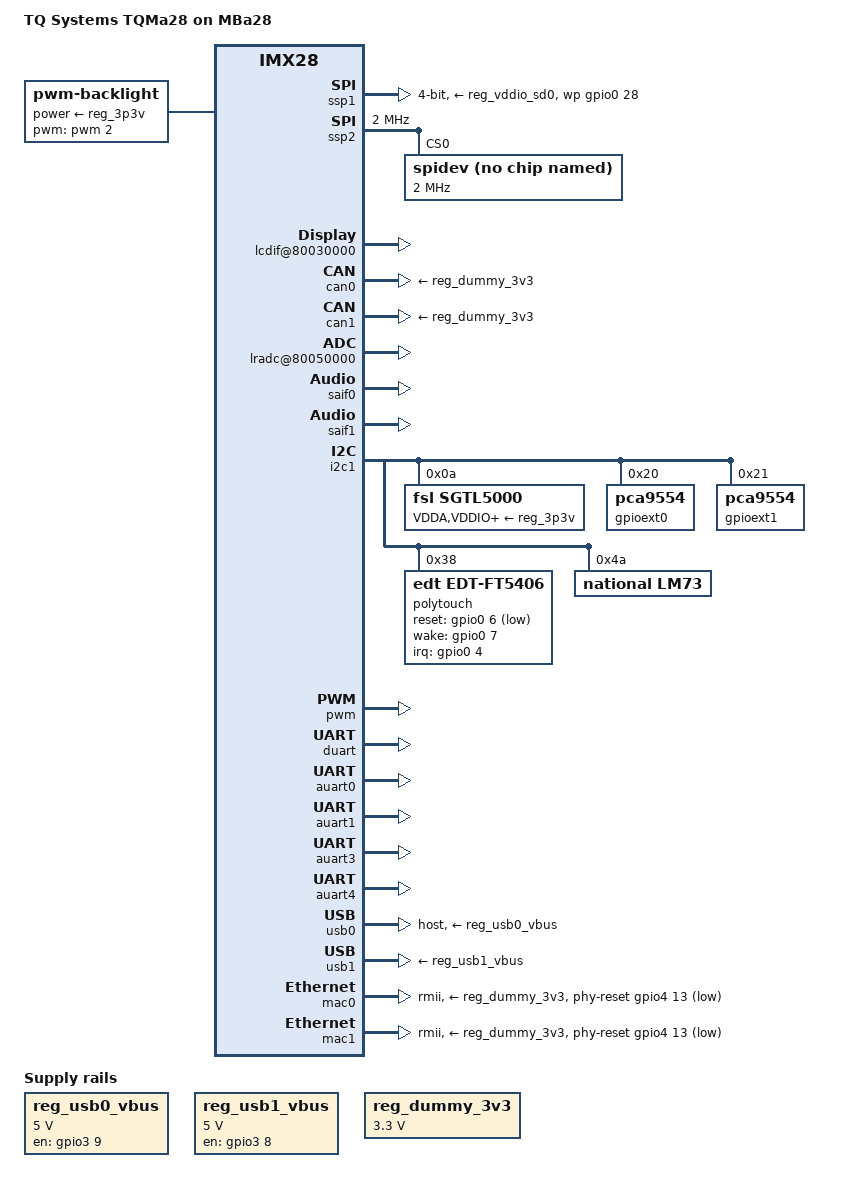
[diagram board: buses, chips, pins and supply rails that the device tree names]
/*
 * Copyright 2012 Freescale Semiconductor, Inc.
 *
 * The code contained herein is licensed under the GNU General Public
 * License. You may obtain a copy of the GNU General Public License
 * Version 2 or later at the following locations:
 *
 * http://www.opensource.org/licenses/gpl-license.html
 * http://www.gnu.org/copyleft/gpl.html
 */

/dts-v1/;
#include "imx28-tqma28.dtsi"

/ {
	model = "TQ Systems TQMa28 on MBa28";
	compatible = "tqs, mba28", "tqs,tqma28", "fsl,imx28";

	apb@80000000 {
		apbh@80000000 {
			ssp1: ssp@80012000 {
				compatible = "fsl,imx28-mmc";
				pinctrl-names = "default";
				pinctrl-0 = <&mmc1_4bit_pins_a
						&mmc1_cd_cfg
						&mmc1_sck_cfg>;
				bus-width = <4>;
				wp-gpios = <&gpio0 28 0>;
				vmmc-supply = <&reg_vddio_sd0>;
				status = "okay";
			};

			ssp2: ssp@80014000 {
				#address-cells = <1>;
				#size-cells = <0>;
				compatible = "fsl,imx28-spi";
				pinctrl-names = "default";
				pinctrl-0 = <&spi2_pins_a>;
				clock-frequency = <2000000>;
				status = "okay";

				spidev: spidev@0 {
					compatible = "rohm,dh2228fv";
					reg = <0>;
					spi-max-frequency = <2000000>;
				};
			};

			pinctrl@80018000 {
				pinctrl-names = "default";
				pinctrl-0 = <&hog_pins_a>;

				hog_pins_a: hog-gpios@0 {
					reg = <0>;
					fsl,pinmux-ids = <
						MX28_PAD_ENET0_RX_CLK__GPIO_4_13
						MX28_PAD_LCD_RESET__GPIO_3_30
						MX28_PAD_AUART2_RX__GPIO_3_8
						MX28_PAD_AUART2_TX__GPIO_3_9
					>;
					fsl,drive-strength = <MXS_DRIVE_8mA>;
					fsl,voltage = <MXS_VOLTAGE_HIGH>;
					fsl,pull-up = <MXS_PULL_DISABLE>;
				};

				edt_ft5x06_pins: edt-ft5x06-pins {
					fsl,pinmux-ids = <
						MX28_PAD_GPMI_D04__GPIO_0_4 /* IRQ */
						MX28_PAD_GPMI_D06__GPIO_0_6 /* RESET */
						MX28_PAD_GPMI_D07__GPIO_0_7 /* WAKE */
					>;
					fsl,drive-strength = <MXS_DRIVE_4mA>;
					fsl,voltage = <MXS_VOLTAGE_HIGH>;
					fsl,pull-up = <MXS_PULL_DISABLE>;
				};

				i2c1_pins_b: i2c1@0 {
					reg = <0>;
					fsl,pinmux-ids = <
						MX28_PAD_AUART2_CTS__I2C1_SCL
						MX28_PAD_AUART2_RTS__I2C1_SDA
					>;
					fsl,drive-strength = <MXS_DRIVE_8mA>;
					fsl,voltage = <MXS_VOLTAGE_HIGH>;
					fsl,pull-up = <MXS_PULL_DISABLE>;
				};

				lcdif_24bit_pins_a: lcdif-24bit@0 {
					fsl,drive-strength = <MXS_DRIVE_8mA>;
				};

				lcdif_pins_mba28: lcdif-evk@0 {
					reg = <0>;
					fsl,pinmux-ids = <
						MX28_PAD_LCD_VSYNC__LCD_VSYNC
						MX28_PAD_LCD_HSYNC__LCD_HSYNC
						MX28_PAD_LCD_DOTCLK__LCD_DOTCLK
						MX28_PAD_LCD_ENABLE__LCD_ENABLE
					>;
					fsl,drive-strength = <MXS_DRIVE_8mA>;
					fsl,voltage = <MXS_VOLTAGE_HIGH>;
					fsl,pull-up = <MXS_PULL_DISABLE>;
				};

				mmc1_4bit_pins_a: mmc1-4bit@0 {
					reg = <0>;
					fsl,pinmux-ids = <
						MX28_PAD_GPMI_D00__SSP1_D0
						MX28_PAD_GPMI_D01__SSP1_D1
						MX28_PAD_GPMI_D02__SSP1_D2
						MX28_PAD_GPMI_D03__SSP1_D3
						MX28_PAD_GPMI_RDY0__SSP1_CARD_DETECT
						MX28_PAD_GPMI_RDY1__SSP1_CMD
						MX28_PAD_GPMI_WRN__SSP1_SCK
					>;
					fsl,drive-strength = <MXS_DRIVE_8mA>;
					fsl,voltage = <MXS_VOLTAGE_HIGH>;
					fsl,pull-up = <MXS_PULL_DISABLE>;
				};

				mmc1_cd_cfg: mmc1-cd-cfg {
					fsl,pinmux-ids = <
						MX28_PAD_GPMI_RDY0__SSP1_CARD_DETECT
					>;
					fsl,pull-up = <MXS_PULL_DISABLE>;
				};

				mmc1_sck_cfg: mmc1-sck-cfg {
					fsl,pinmux-ids = <
						MX28_PAD_GPMI_WRN__SSP1_SCK
					>;
					fsl,voltage = <MXS_VOLTAGE_HIGH>;
					fsl,drive-strength = <MXS_DRIVE_8mA>;
					fsl,pull-up = <MXS_PULL_ENABLE>;
				};

				pwm2_pins_a: pwm2@0 {
					fsl,drive-strength = <MXS_DRIVE_8mA>;
					fsl,pull-up = <MXS_PULL_ENABLE>;
				};

				auart0_pins_a: auart0@0 {
					fsl,drive-strength = <MXS_DRIVE_8mA>;
				};

				auart1_2pins_a: auart1-2pins@0 {
					fsl,drive-strength = <MXS_DRIVE_8mA>;
				};

				auart3_pins_a: auart3@0 {
					fsl,drive-strength = <MXS_DRIVE_8mA>;
				};

				auart4_pins_a: auart4@0 {
					reg = <0>;
					fsl,pinmux-ids = <
						MX28_PAD_SSP3_SCK__AUART4_TX
						MX28_PAD_SSP3_MOSI__AUART4_RX
						MX28_PAD_SSP3_MISO__AUART4_RTS
						MX28_PAD_SSP3_SS0__AUART4_CTS
					>;
					fsl,drive-strength = <MXS_DRIVE_8mA>;
					fsl,voltage = <MXS_VOLTAGE_HIGH>;
					fsl,pull-up = <MXS_PULL_DISABLE>;
				};
			};

			lcdif@80030000 {
				pinctrl-names = "default";
				pinctrl-0 = <&lcdif_24bit_pins_a
							 &lcdif_pins_mba28>;
				lcd-supply = <&reg_dummy_3v3>;
				display = <&parallel>;
				status = "okay";

				parallel: lcd_display {
					bits-per-pixel = <16>;
					bus-width = <18>;

					display-timings {
						native-mode = <&ET0700G0DH6>;
						ET0700G0DH6: timing0 {
							clock-frequency = <33260000>;
							hactive = <800>;
							vactive = <480>;
							hback-porch = <0>;
							hfront-porch = <256>;
							vback-porch = <0>;
							vfront-porch = <45>;
							hsync-len = <10>;
							vsync-len = <10>;
							hsync-active = <0>;
							vsync-active = <0>;
							de-active = <1>;
							pixelclk-active = <1>;
						};
					};
				};
			};

			can0: can@80032000 {
				pinctrl-names = "default";
				pinctrl-0 = <&can0_pins_a>;
				xceiver-supply = <&reg_dummy_3v3>;
				status = "okay";
			};

			can1: can@80034000 {
				pinctrl-names = "default";
				pinctrl-0 = <&can1_pins_a>;
				xceiver-supply = <&reg_dummy_3v3>;
				status = "okay";
			};
		};

		apbx@80040000 {
			lradc@80050000 {
				fsl,lradc-touchscreen-wires = <4>;
				status = "okay";
			};

			saif0: saif@80042000 {
				pinctrl-names = "default";
				pinctrl-0 = <&saif0_pins_a>;
				status = "okay";
			};

			saif1: saif@80046000 {
				pinctrl-names = "default";
				pinctrl-0 = <&saif1_pins_a>;
				fsl,saif-master = <&saif0>;
				status = "okay";
			};

			i2c1: i2c@8005a000 {
				pinctrl-names = "default";
				pinctrl-0 = <&i2c1_pins_b>;
				status = "okay";

				sgtl5000: codec@0a {
					compatible = "fsl,sgtl5000";
					reg = <0x0a>;
					clocks = <&saif0>;
					VDDA-supply = <&reg_3p3v>;
					VDDIO-supply = <&reg_3p3v>;
					VDDD-supply = <&reg_3p3v>;
				};

				gpioext0: pca9554@20 {
					compatible = "pca9554";
					reg = <0x20>;
					#gpio-cells = <2>;
					gpio-controller;
				};

				gpioext1: pca9554@21 {
					compatible = "pca9554";
					reg = <0x21>;
					#gpio-cells = <2>;
					gpio-controller;
				};

				polytouch: edt-ft5x04@38 {
					compatible = "edt,edt-ft5406";
					reg = <0x38>;
					pinctrl-names = "default";
					pinctrl-0 = <&edt_ft5x06_pins>;
					interrupt-parent = <&gpio0>;
					interrupts = <4>;
					reset-gpios = <&gpio0 6 1>;
					wake-gpios = <&gpio0 7 0>;
				};

				lm73@4a {
					compatible = "national,lm73";
					reg = <0x4a>;
				};
			};

			pwm: pwm@80064000 {
				compatible = "fsl,imx28-pwm", "fsl,mxs-pwm", "fsl,imx23-pwm";
				pinctrl-names = "default";
				pinctrl-0 = <&pwm2_pins_a>;
				status = "okay";
			};

			duart: serial@80074000 {
				pinctrl-names = "default";
				pinctrl-0 = <&duart_pins_a>;
				status = "okay";
			};

			auart0: serial@8006a000 {
				pinctrl-names = "default";
				pinctrl-0 = <&auart0_pins_a>;
				status = "okay";
			};

			auart1: serial@8006c000 {
				pinctrl-names = "default";
				pinctrl-0 = <&auart1_2pins_a>;
				status = "okay";
			};

			auart3: serial@80070000 {
				pinctrl-names = "default";
				pinctrl-0 = <&auart3_pins_a>;
				status = "okay";
			};

			auart4: serial@80072000 {
				pinctrl-names = "default";
				pinctrl-0 = <&auart4_pins_a>;
				fsl,uart-has-rtscts;
				status = "okay";
			};

			usbphy0: usbphy@8007c000 {
				status = "okay";
			};

			usbphy1: usbphy@8007e000 {
				status = "okay";
			};
		};
	};

	ahb@80080000 {
		usb0: usb@80080000 {
			vbus-supply = <&reg_usb0_vbus>;
			pinctrl-names = "default";
			pinctrl-0 = <&usbphy0_pins_a>;
			dr_mode = "host";
			status = "okay";
		};

		usb1: usb@80090000 {
			vbus-supply = <&reg_usb1_vbus>;
			pinctrl-names = "default";
			pinctrl-0 = <&usbphy1_pins_a>;
			status = "okay";
		};

		mac0: ethernet@800f0000 {
			phy-mode = "rmii";
			pinctrl-names = "default";
			pinctrl-0 = <&mac0_pins_a>;
			phy-reset-gpios = <&gpio4 13 0>;
			phy-reset-duration = <100>;
			phy-supply = <&reg_dummy_3v3>;
			status = "okay";
		};

		mac1: ethernet@800f4000 {
			phy-mode = "rmii";
			pinctrl-names = "default";
			pinctrl-0 = <&mac1_pins_a>;
			phy-reset-gpios = <&gpio4 13 0>;
			phy-reset-duration = <100>;
			phy-supply = <&reg_dummy_3v3>;
			status = "okay";
		};
	};

	regulators {
		compatible = "simple-bus";

		reg_usb0_vbus: usb0_vbus {
			compatible = "regulator-fixed";
			regulator-name = "usb0_vbus";
			regulator-min-microvolt = <5000000>;
			regulator-max-microvolt = <5000000>;
			gpio = <&gpio3 9 0>;
			enable-active-high;
		};

		reg_usb1_vbus: usb1_vbus {
			compatible = "regulator-fixed";
			regulator-name = "usb1_vbus";
			regulator-min-microvolt = <5000000>;
			regulator-max-microvolt = <5000000>;
			gpio = <&gpio3 8 0>;
			enable-active-high;
		};

		reg_dummy_3v3: dummy_3v3 {
			compatible = "regulator-fixed";
			regulator-name = "dummy-3v3";
			regulator-min-microvolt = <3300000>;
			regulator-max-microvolt = <3300000>;
			regulator-always-on;
		};
	};

	sound {
		compatible = "fsl,imx28-evk-sgtl5000",
			     "fsl,mxs-audio-sgtl5000";
		model = "imx28-evk-sgtl5000";
		saif-controllers = <&saif0 &saif1>;
		audio-codec = <&sgtl5000>;
	};

	backlight {
		compatible = "pwm-backlight";
		pwms = <&pwm 2 5000000>;
		brightness-levels = <0 4 8 16 32 64 128 255>;
		default-brightness-level = <6>;
		power-supply = <&reg_3p3v>;
	};
};
